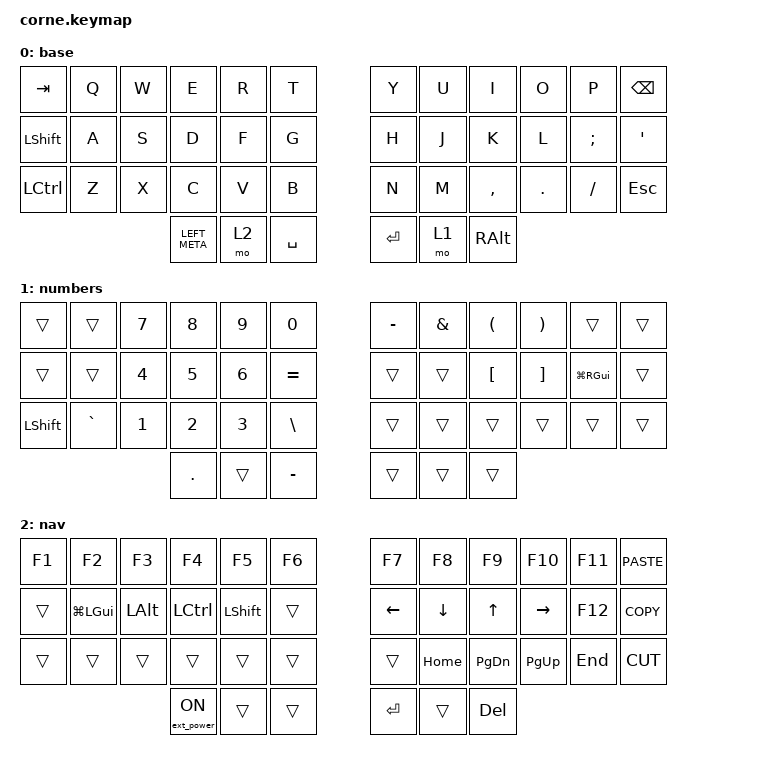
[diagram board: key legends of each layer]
/*
 * Copyright (c) 2020 The ZMK Contributors
 *
 * SPDX-License-Identifier: MIT
 */

#include <behaviors.dtsi>
#include <dt-bindings/zmk/ext_power.h>
#include <dt-bindings/zmk/keys.h>

&led_strip { chain-length = <27>; };

/ {
    behaviors {
        hm: homerow_mods {
            compatible = "zmk,behavior-hold-tap";
            label = "HOMEROW_MODS";
            #binding-cells = <2>;
            tapping-term-ms = <200>;
            quick_tap_ms = <0>;
            flavor = "tap-preferred";
            bindings = <&kp>, <&kp>;
        };
    };

    keymap {
        compatible = "zmk,keymap";

        base {
            bindings = <
&kp TAB         &kp Q  &kp W  &kp E          &kp R  &kp T        &kp Y    &kp U  &kp I          &kp O       &kp P          &kp BACKSPACE
&kp LEFT_SHIFT  &kp A  &kp S  &kp D          &kp F  &kp G        &kp H    &kp J  &kp K          &kp L       &kp SEMICOLON  &kp SQT
&kp LCTRL       &kp Z  &kp X  &kp C          &kp V  &kp B        &kp N    &kp M  &kp COMMA      &kp PERIOD  &kp SLASH      &kp ESC
                              &kp LEFT_META  &mo 2  &kp SPACE    &kp RET  &mo 1  &kp RIGHT_ALT
            >;
        };

        numbers {
            bindings = <
&trans          &trans     &kp N7        &kp N8      &kp N9  &kp N0       &kp MINUS  &kp AMPERSAND  &kp LEFT_PARENTHESIS  &kp RIGHT_PARENTHESIS  &trans        &trans
&trans          &trans     &kp N4        &kp N5      &kp N6  &kp EQUAL    &trans     &trans         &kp LEFT_BRACKET      &kp RIGHT_BRACKET      &kp LG(RGUI)  &trans
&kp LEFT_SHIFT  &kp GRAVE  &kp NUMBER_1  &kp N2      &kp N3  &kp BSLH     &trans     &trans         &trans                &trans                 &trans        &trans
                                         &kp PERIOD  &trans  &kp MINUS    &trans     &trans         &trans
            >;
        };

        nav {
            bindings = <
&kp F1  &kp F2        &kp F3    &kp F4            &kp F5     &kp F6    &kp F7          &kp F8          &kp F9        &kp F10          &kp F11  &kp K_PASTE
&trans  &kp LG(LGUI)  &kp LALT  &kp LCTRL         &kp LSHFT  &trans    &kp LEFT_ARROW  &kp DOWN_ARROW  &kp UP_ARROW  &kp RIGHT_ARROW  &kp F12  &kp K_COPY
&trans  &trans        &trans    &trans            &trans     &trans    &trans          &kp HOME        &kp PG_DN     &kp PG_UP        &kp END  &kp K_CUT
                                &ext_power EP_ON  &trans     &trans    &kp RETURN      &trans          &kp DELETE
            >;
        };
    };
};
